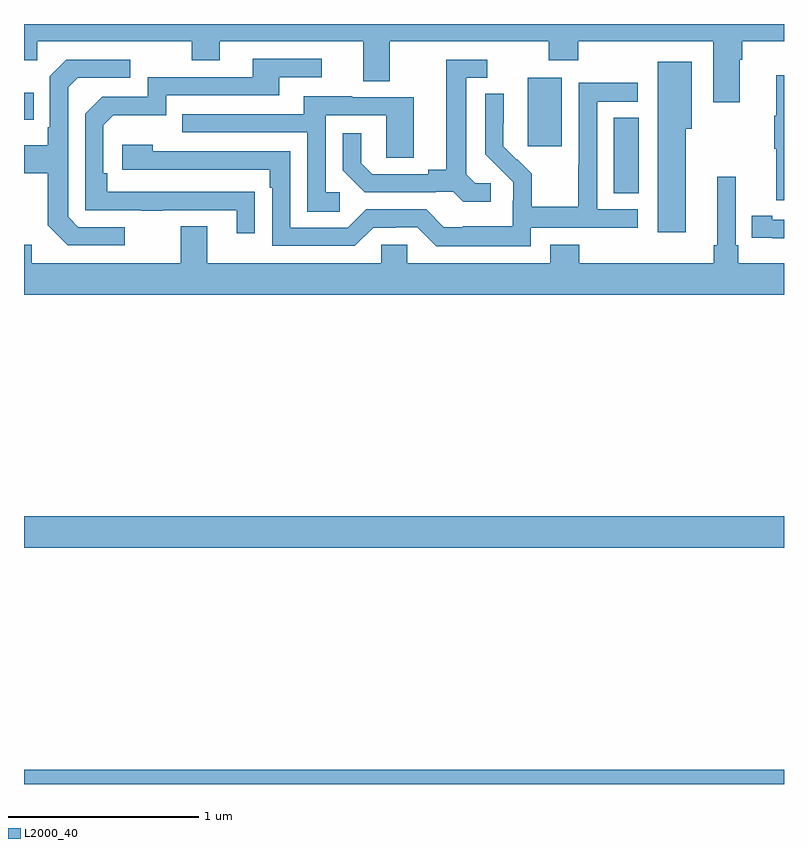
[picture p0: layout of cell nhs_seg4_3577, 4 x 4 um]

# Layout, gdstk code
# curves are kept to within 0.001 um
import gdstk
lib = gdstk.Library(unit=1e-6, precision=1e-09)
def R(c, l, rs):  # rectangles x0, y0, x1, y1
    for r in rs: c.add(gdstk.rectangle(r[:2], r[2:], *l))
def P(c, l, *ps):  # polygons
    for p in ps: c.add(gdstk.Polygon(p, *l))
L2000_40 = (2000, 40)

nhs_seg4_3577 = lib.new_cell('nhs_seg4_3577')
R(nhs_seg4_3577, L2000_40, [(299,804.9,303,804.976), (299,806.144,303,806.308), (302.105,808.009,302.236,808.406), (301.652,808.257,301.831,808.618), (299,808.397,299.051,808.537)])
P(nhs_seg4_3577, L2000_40, [(302.767,808.712),(302.78,808.712),(302.78,808.808),(303,808.808),(303,808.9),(299,808.9),(299,808.709),(299.07,808.709),(299.07,808.808),(299.884,808.808),(299.884,808.709),(300.031,808.709),(300.031,808.808),(300.785,808.808),(300.785,808.6),(300.925,808.6),(300.925,808.808),(301.762,808.808),(301.762,808.709),(301.917,808.709),(301.917,808.808),(302.627,808.808),(302.627,808.488),(302.767,808.488)],
  [(300.215,808.016),(299.438,808.017),(299.438,808.114),(299.418,808.114),(299.418,808.368),(299.471,808.421),(299.748,808.421),(299.748,808.524),(300.343,808.524),(300.343,808.62),(300.568,808.62),(300.568,808.716),(300.203,808.716),(300.203,808.62),(299.652,808.62),(299.652,808.518),(299.412,808.518),(299.322,808.428),(299.322,807.921),(299.617,807.921),(299.617,807.916),(299.729,807.916),(299.729,807.921),(300.119,807.921),(300.119,807.798),(300.215,807.798)],
  [(301.456,808.062),(301.374,808.062),(301.327,808.109),(301.327,808.617),(301.438,808.617),(301.438,808.713),(301.223,808.713),(301.223,808.133),(301.127,808.133),(301.127,808.11),(300.832,808.11),(300.775,808.167),(300.775,808.324),(300.678,808.324),(300.678,808.13),(300.794,808.014),(301.166,808.014),(301.166,808.017),(301.26,808.017),(301.312,807.965),(301.456,807.965)],
  [(299.53,807.831),(299.286,807.831),(299.232,807.885),(299.232,808.566),(299.283,808.617),(299.56,808.617),(299.56,808.713),(299.223,808.713),(299.136,808.626),(299.136,808.357),(299.124,808.357),(299.124,808.261),(299,808.261),(299,808.114),(299.124,808.114),(299.124,807.841),(299.229,807.735),(299.53,807.735)],
  [(302.482,808.349),(302.515,808.349),(302.515,808.702),(302.336,808.702),(302.336,807.804),(302.482,807.804)],
  [(303,808.63),(302.96,808.63),(302.96,808.417),(302.949,808.417),(302.949,808.243),(302.96,808.243),(302.96,807.972),(303,807.972)],
  [(301.668,807.828),(302.23,807.828),(302.23,807.924),(302.016,807.924),(302.016,808.491),(302.23,808.491),(302.23,808.59),(301.92,808.59),(301.92,808.16),(301.918,808.16),(301.918,807.937),(301.673,807.937),(301.673,808.111),(301.596,808.188),(301.593,808.185),(301.523,808.256),(301.524,808.532),(301.428,808.532),(301.428,808.214),(301.574,808.066),(301.574,807.969),(301.572,807.969),(301.572,807.835),(301.309,807.835),(301.309,807.831),(301.209,807.831),(301.116,807.924),(300.801,807.924),(300.705,807.828),(300.402,807.828),(300.402,808.23),(299.678,808.23),(299.678,808.264),(299.517,808.264),(299.517,808.134),(300.293,808.134),(300.293,808.037),(300.306,808.037),(300.306,807.732),(300.741,807.732),(300.837,807.828),(300.956,807.828),(300.956,807.831),(301.071,807.831),(301.171,807.731),(301.668,807.731)],
  [(300.661,808.014),(300.588,808.014),(300.588,808.419),(300.906,808.419),(300.906,808.195),(301.051,808.195),(301.051,808.515),(300.727,808.515),(300.727,808.519),(300.473,808.519),(300.473,808.425),(299.833,808.425),(299.833,808.329),(300.492,808.329),(300.492,807.913),(300.661,807.913)],
  [(301.769,807.739),(301.769,807.64),(301.017,807.64),(301.017,807.738),(300.879,807.738),(300.879,807.64),(299.965,807.64),(299.965,807.835),(299.825,807.835),(299.825,807.64),(299.041,807.64),(299.041,807.739),(299,807.739),(299,807.476),(303,807.476),(303,807.64),(302.759,807.64),(302.759,807.736),(302.745,807.736),(302.745,808.096),(302.648,808.096),(302.648,807.736),(302.629,807.736),(302.629,807.64),(301.922,807.64),(301.922,807.739)],
  [(303,807.87),(302.938,807.87),(302.938,807.89),(302.83,807.89),(302.83,807.774),(302.938,807.774),(302.938,807.773),(303,807.773)])

lib.write_gds('nhs_seg4_3577.gds')
